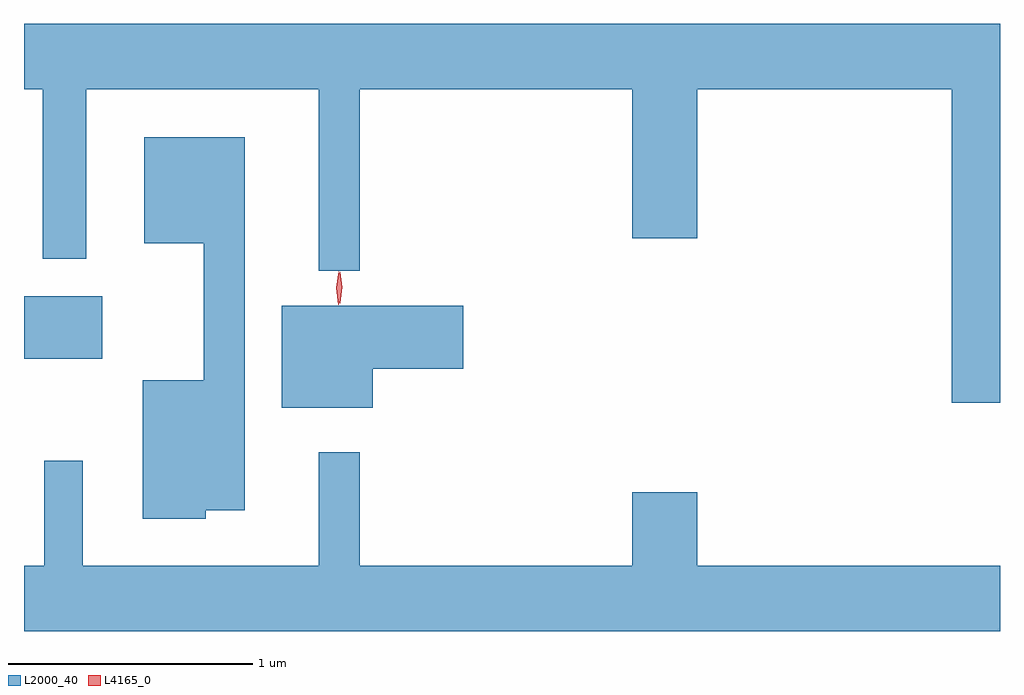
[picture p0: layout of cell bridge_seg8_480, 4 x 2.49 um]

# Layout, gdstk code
import gdstk
lib = gdstk.Library(unit=1e-6, precision=1e-09)
def R(c, l, rs):  # rectangles x0, y0, x1, y1
    for r in rs: c.add(gdstk.rectangle(r[:2], r[2:], *l))
def P(c, l, *ps):  # polygons
    for p in ps: c.add(gdstk.Polygon(p, *l))
L2000_40 = (2000, 40)
L4165_0 = (4165, 0)

bridge_seg8_480 = lib.new_cell('bridge_seg8_480')
R(bridge_seg8_480, L2000_40, [(292.504,1904.131,292.824,1904.389)])
P(bridge_seg8_480, L2000_40, [(296.504,1905.504),(292.504,1905.504),(292.504,1905.236),(292.581,1905.236),(292.581,1904.541),(292.759,1904.541),(292.759,1905.236),(293.711,1905.236),(293.711,1904.493),(293.879,1904.493),(293.879,1905.236),(294.996,1905.236),(294.996,1904.626),(295.264,1904.626),(295.264,1905.236),(296.306,1905.236),(296.306,1903.951),(296.504,1903.951)],
  [(293.249,1903.511),(293.409,1903.511),(293.409,1905.039),(292.996,1905.039),(292.996,1904.606),(293.241,1904.606),(293.241,1904.044),(292.991,1904.044),(292.991,1903.476),(293.249,1903.476)],
  [(293.934,1904.091),(294.304,1904.091),(294.304,1904.349),(293.561,1904.349),(293.561,1903.931),(293.934,1903.931)],
  [(296.504,1903.284),(295.264,1903.284),(295.264,1903.584),(294.996,1903.584),(294.996,1903.284),(293.879,1903.284),(293.879,1903.748),(293.711,1903.748),(293.711,1903.284),(292.744,1903.284),(292.744,1903.713),(292.586,1903.713),(292.586,1903.284),(292.504,1903.284),(292.504,1903.016),(296.504,1903.016)])
P(bridge_seg8_480, L4165_0, [(293.792,1904.354),(293.792,1904.354),(293.783,1904.422),(293.793,1904.49),(293.794,1904.49),(293.794,1904.49),(293.803,1904.422),(293.793,1904.354)],
  [(293.799,1904.36),(293.789,1904.424),(293.798,1904.486),(293.799,1904.487),(293.8,1904.486),(293.809,1904.424),(293.8,1904.36),(293.8,1904.36)])

lib.write_gds('bridge_seg8_480.gds')
